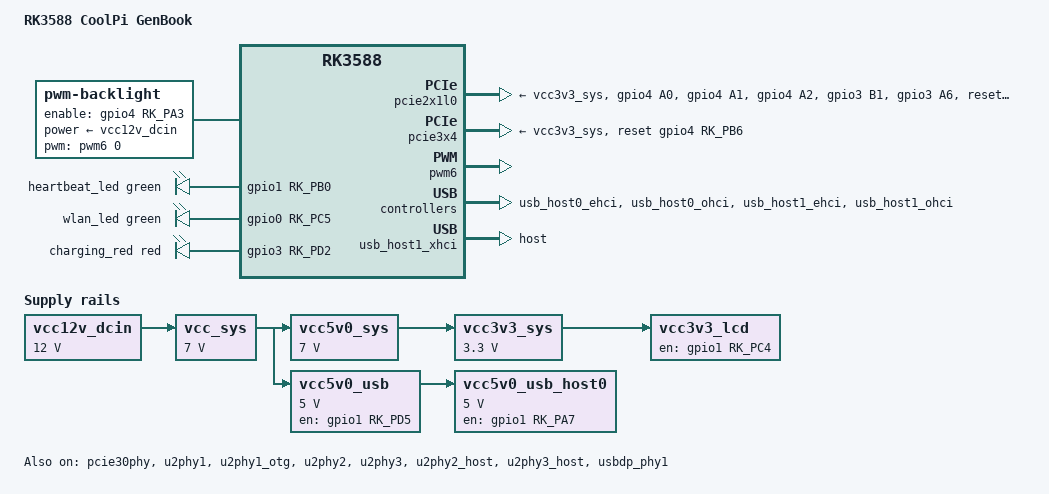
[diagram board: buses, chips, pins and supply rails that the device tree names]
// SPDX-License-Identifier: (GPL-2.0+ OR MIT)
/*
 * Copyright (c) 2023 Rockchip Electronics Co., Ltd.
 *
 */

/dts-v1/;

#include <dt-bindings/leds/common.h>
#include "rk3588-coolpi-cm5.dtsi"

/ {
	model = "RK3588 CoolPi GenBook";
	compatible = "coolpi,genbook", "coolpi,pi-cm5", "rockchip,rk3588";

	backlight: backlight {
		compatible = "pwm-backlight";
		enable-gpios = <&gpio4 RK_PA3 GPIO_ACTIVE_HIGH>;
		pinctrl-names = "default";
		pinctrl-0 = <&bl_en>;
		power-supply = <&vcc12v_dcin>;
		pwms = <&pwm6 0 25000 0>;
	};

	leds: leds {
		compatible = "gpio-leds";

		heartbeat_led: led-0 {
			color = <LED_COLOR_ID_GREEN>;
			function = LED_FUNCTION_STATUS;
			gpios = <&gpio1 RK_PB0 GPIO_ACTIVE_HIGH>;
			linux,default-trigger = "heartbeat";
		};

		wlan_led: led-1 {
			color = <LED_COLOR_ID_GREEN>;
			function = LED_FUNCTION_WLAN;
			gpios = <&gpio0 RK_PC5 GPIO_ACTIVE_HIGH>;
		};

		charging_red: led-2 {
			function = LED_FUNCTION_CHARGING;
			color = <LED_COLOR_ID_RED>;
			gpios = <&gpio3 RK_PD2 GPIO_ACTIVE_HIGH>;
		};
	};

	vcc12v_dcin: vcc12v-dcin-regulator {
		compatible = "regulator-fixed";
		regulator-name = "vcc12v_dcin";
		regulator-always-on;
		regulator-boot-on;
		regulator-min-microvolt = <12000000>;
		regulator-max-microvolt = <12000000>;
	};

	vcc_sys: vcc-sys-regulator {
		compatible = "regulator-fixed";
		regulator-name = "vcc_sys";
		regulator-always-on;
		regulator-boot-on;
		regulator-min-microvolt = <7000000>;
		regulator-max-microvolt = <7000000>;
		vin-supply = <&vcc12v_dcin>;
	};

	vcc5v0_sys: vcc5v0-sys-regulator {
		compatible = "regulator-fixed";
		regulator-name = "vcc5v0_sys";
		regulator-always-on;
		regulator-boot-on;
		regulator-min-microvolt = <7000000>;
		regulator-max-microvolt = <7000000>;
		vin-supply = <&vcc_sys>;
	};

	vcc3v3_sys: vcc3v3-sys-regulator {
		compatible = "regulator-fixed";
		regulator-name = "vcc3v3_sys";
		regulator-always-on;
		regulator-boot-on;
		regulator-min-microvolt = <3300000>;
		regulator-max-microvolt = <3300000>;
		vin-supply = <&vcc5v0_sys>;
	};

	vcc3v3_lcd: vcc3v3-lcd-regulator {
		compatible = "regulator-fixed";
		regulator-name = "vcc3v3_lcd";
		enable-active-high;
		gpio = <&gpio1 RK_PC4 GPIO_ACTIVE_HIGH>;
		pinctrl-names = "default";
		pinctrl-0 = <&lcdpwr_en>;
		vin-supply = <&vcc3v3_sys>;
	};

	vcc5v0_usb: vcc5v0-usb-regulator {
		compatible = "regulator-fixed";
		regulator-name = "vcc5v0_usb";
		regulator-boot-on;
		regulator-always-on;
		enable-active-high;
		regulator-min-microvolt = <5000000>;
		regulator-max-microvolt = <5000000>;
		gpio = <&gpio1 RK_PD5 GPIO_ACTIVE_HIGH>;
		pinctrl-names = "default";
		pinctrl-0 = <&usb_pwren>;
		vin-supply = <&vcc_sys>;
	};

	vcc5v0_usb_host0: vcc5v0_usb30_host: vcc5v0-usb-host-regulator {
		compatible = "regulator-fixed";
		regulator-name = "vcc5v0_host";
		regulator-boot-on;
		regulator-always-on;
		enable-active-high;
		regulator-min-microvolt = <5000000>;
		regulator-max-microvolt = <5000000>;
		gpio = <&gpio1 RK_PA7 GPIO_ACTIVE_HIGH>;
		pinctrl-names = "default";
		pinctrl-0 = <&usb_host_pwren>;
		vin-supply = <&vcc5v0_usb>;
	};
};

/* M.2 E-Key */
&pcie2x1l0 {
	reset-gpios = <&gpio4 RK_PA2 GPIO_ACTIVE_HIGH>;
	vpcie3v3-supply = <&vcc3v3_sys>;
	pinctrl-names = "default";
	pinctrl-0 = <&pcie_clkreq &pcie_wake &pcie_rst &wifi_pwron &bt_pwron>;
	status = "okay";
};

&pcie2x1l2 {
	status = "disabled";
};

&pcie30phy {
	status = "okay";
};

/* M.2 M-Key ssd */
&pcie3x4 {
	reset-gpios = <&gpio4 RK_PB6 GPIO_ACTIVE_HIGH>;
	vpcie3v3-supply = <&vcc3v3_sys>;
	status = "okay";
};

&pinctrl {
	lcd {
		lcdpwr_en: lcdpwr-en {
			rockchip,pins = <1 RK_PC4 RK_FUNC_GPIO &pcfg_pull_down>;
		};

		bl_en: bl-en {
			rockchip,pins = <4 RK_PA3 RK_FUNC_GPIO &pcfg_pull_none>;
		};
	};

	usb {
		usb_pwren: usb-pwren {
			rockchip,pins = <1 RK_PD5 RK_FUNC_GPIO &pcfg_pull_up>;
		};

		usb_otg_pwren: usb-otg-pwren {
			rockchip,pins = <0 RK_PA0 RK_FUNC_GPIO &pcfg_pull_up>;
		};

		usb_host_pwren: usb-host-pwren {
			rockchip,pins = <1 RK_PA7 RK_FUNC_GPIO &pcfg_pull_up>;
		};
	};

	wifi {
		bt_pwron: bt-pwron {
			rockchip,pins = <3 RK_PA6 RK_FUNC_GPIO &pcfg_pull_up>;
		};

		pcie_clkreq: pcie-clkreq {
			rockchip,pins = <4 RK_PA0 RK_FUNC_GPIO &pcfg_pull_up>;
		};

		pcie_rst: pcie-rst {
			rockchip,pins = <4 RK_PA2 RK_FUNC_GPIO &pcfg_pull_up>;
		};

		wifi_pwron: wifi-pwron {
			rockchip,pins = <3 RK_PB1 RK_FUNC_GPIO &pcfg_pull_up>;
		};

		pcie_wake: pcie-wake {
			rockchip,pins = <4 RK_PA1 RK_FUNC_GPIO &pcfg_pull_up>;
		};
	};
};

&pwm6 {
	status = "okay";
};

&sdmmc {
	status = "disabled";
};

&u2phy1 {
	status = "okay";
};

&u2phy1_otg {
	status = "okay";
};

&u2phy2 {
	status = "okay";
};

&u2phy3 {
	status = "okay";
};

&u2phy2_host {
	phy-supply = <&vcc5v0_usb_host0>;
	status = "okay";
};

&u2phy3_host {
	phy-supply = <&vcc5v0_usb>;
	status = "okay";
};

&usbdp_phy1 {
	status = "okay";
};

/* For Keypad */
&usb_host0_ehci {
	status = "okay";
};

&usb_host0_ohci {
	status = "okay";
};

/* connected to a HUB for camera and BT */
&usb_host1_ehci {
	status = "okay";
};

&usb_host1_ohci {
	status = "okay";
};

/* USB A out */
&usb_host1_xhci {
	dr_mode = "host";
	status = "okay";
};
